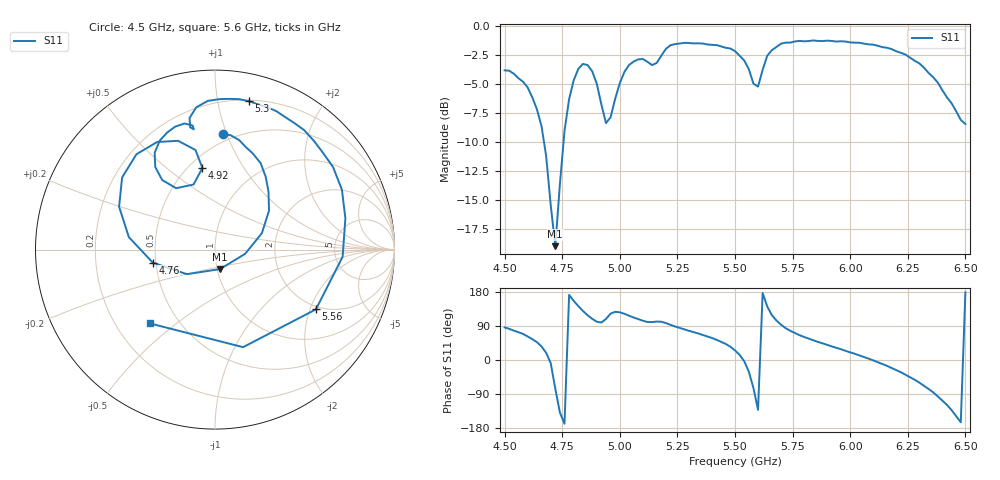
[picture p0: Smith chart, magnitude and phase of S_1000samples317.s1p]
! TOUCHSTONE file generated by CST MICROWAVE STUDIO
! Date and time: Thu Oct 27 18:13:17 2022
! Project name: L.cst
! Parameters = {Di=1.27; Epsilon_r=1.56; InnerDiameter=1.27; Length=2; Lf=10; Lg=60; OuterConductorThickness=0.2921; OuterDiameter=3.6; Wf=3; Wp=41.2; de=1.5; df=6.8; g=0.8; gx=0.604513; gy=1.16353; h=2.34; hf=1.524; px=14.1768; py=11.4373; w=9.7; wx=13.5723; wy=10.2738}
! Header version: 2018
! Port assignment regex: !\s*Touchstone port\s*([0-9]+)\s*=\s*(CST MWS port|CST DS port)\s*([0-9]+|Zmin|Zmax)\s*\(\"(.*)\"\)(\s*mode\s*([0-9]+))?.*
! Touchstone port assignment:
! Touchstone port 1 = CST MWS port 1 ("")
# GHz S DB R 50
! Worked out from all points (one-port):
!   101 points, 4.5 GHz to 6.5 GHz, reference 50 ohm
!   lowest |S11| = -19.0 dB at 4.72 GHz (marker M1), VSWR 1.25, Z = 51.6 - j11.4 ohm
!   |S11| at or under -10 dB: 4.671 GHz to 4.756 GHz (84.84 MHz wide, 1.8 % of centre)
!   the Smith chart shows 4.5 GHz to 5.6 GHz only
!   S11 on the Smith chart (normalised r, x): 4.5 GHz: 0.44, +0.97; 4.76 GHz: 0.48, -0.08; 4.92 GHz: 0.58, +0.67; 5.3 GHz: 0.21, +1.23; 5.56 GHz: 1.89, -2.20; 5.6 GHz: 0.34, -0.40
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4.5  -3.80 85.9
4.64  -7.15 47.2
4.68  -11.16 19.3
4.72  -19.00 -75.6
4.76  -9.02 -168.1
4.8  -4.65 155.9
4.86  -3.34 118.3
4.92  -6.75 98.8
4.96  -7.85 122.3
5  -4.91 125.9
5.08  -2.85 108.0
5.26  -1.48 84.7
5.3  -1.43 77.1
5.42  -1.61 53.3
5.5  -2.14 25.3
5.54  -2.95 -3.2
5.56  -3.70 -30.6
5.58  -4.95 -73.9
5.6  -5.21 -131.6
5.62  -3.75 176.7
5.64  -2.53 141.0
5.66  -2.06 118.4
5.76  -1.30 71.3
6  -1.39 20.2
6.16  -1.85 -15.5
6.26  -2.71 -45.5
6.38  -4.85 -95.9
6.5  -8.44 178.6
